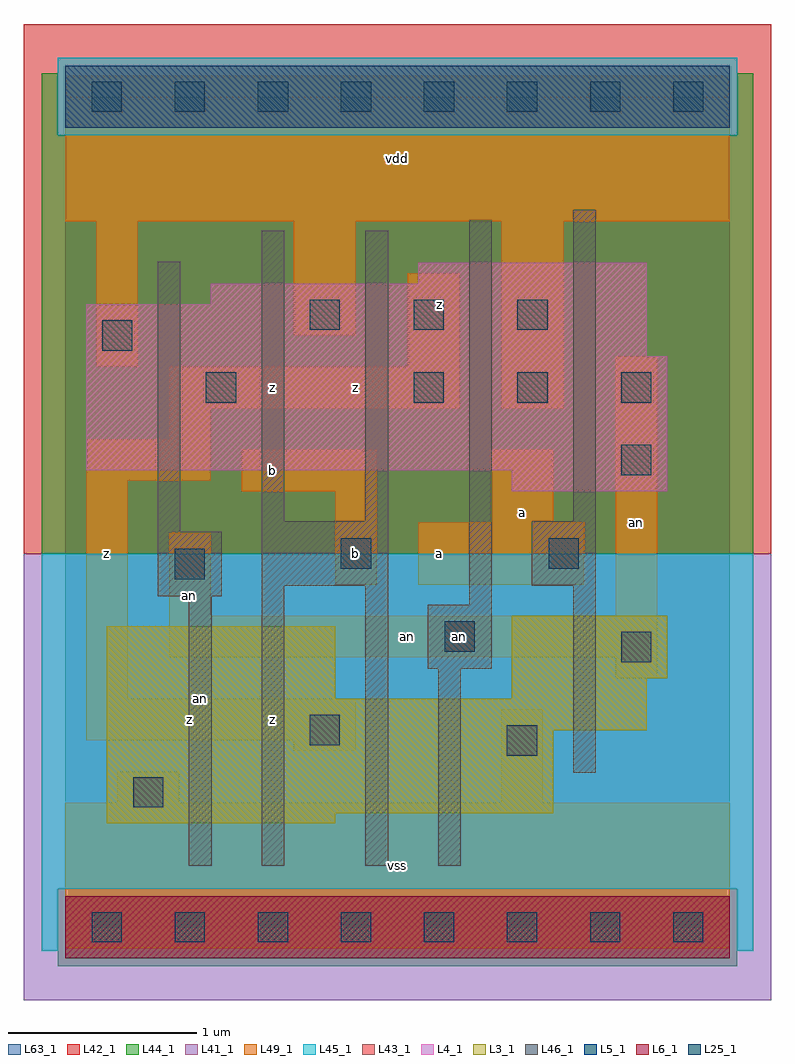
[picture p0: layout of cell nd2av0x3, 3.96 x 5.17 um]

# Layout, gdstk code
import gdstk
lib = gdstk.Library(unit=1e-6, precision=1e-09)
def R(c, l, rs):  # rectangles x0, y0, x1, y1
    for r in rs: c.add(gdstk.rectangle(r[:2], r[2:], *l))
def A(c, l, x, y, w, h, nx, ny, dx, dy):  # array of equal rectangles
    R(c, l, [(x+i*dx, y+j*dy, x+i*dx+w, y+j*dy+h) for i in range(nx) for j in range(ny)])
L3_1 = (3, 1)
L4_1 = (4, 1)
L5_1 = (5, 1)
L6_1 = (6, 1)
L25_1 = (25, 1)
L41_1 = (41, 1)
L42_1 = (42, 1)
L43_1 = (43, 1)
L44_1 = (44, 1)
L45_1 = (45, 1)
L46_1 = (46, 1)
L49_1 = (49, 1)
L63_1 = (63, 1)

nd2av0x3 = lib.new_cell('nd2av0x3')
R(nd2av0x3, L3_1, [(0.22,0.55,1.43,0.605), (0.22,0.605,2.585,1.045), (0.22,1.045,3.08,1.21), (0.22,1.21,1.43,1.595), (2.365,1.21,3.08,1.32), (2.365,1.32,3.19,1.65)])
R(nd2av0x3, L4_1, [(2.365,2.31,3.19,2.42), (0.11,2.42,3.19,3.025), (0.11,3.025,3.08,3.3), (0.77,3.3,3.08,3.41), (1.87,3.41,3.08,3.52)])
R(nd2av0x3, L5_1, [(0,4.235,3.52,4.565)])
R(nd2av0x3, L6_1, [(0,-0.165,3.52,0.165)])
A(nd2av0x3, L25_1, 0.14, -0.08, 0.16, 0.16, 8, 2, 0.44, 4.4)
A(nd2av0x3, L25_1, 1.845, 2.78, 0.16, 0.16, 3, 1, 0.55, 0)
A(nd2av0x3, L25_1, 1.295, 3.165, 0.16, 0.16, 3, 1, 0.55, 0)
R(nd2av0x3, L25_1, [(0.36,0.635,0.52,0.795), (2.34,0.91,2.5,1.07), (1.295,0.965,1.455,1.125), (2.945,1.405,3.105,1.565), (2.01,1.46,2.17,1.62), (0.58,1.845,0.74,2.005), (1.46,1.9,1.62,2.06), (2.56,1.9,2.72,2.06), (2.945,2.395,3.105,2.555), (0.745,2.78,0.905,2.94), (0.195,3.055,0.355,3.215)])
R(nd2av0x3, L41_1, [(-0.22,-0.385,3.74,1.98)])
R(nd2av0x3, L42_1, [(-0.22,1.98,3.74,4.785)])
R(nd2av0x3, L43_1, [(0,-0.165,3.52,0.165), (0.22,0.55,1.43,0.605), (0.22,0.605,2.585,1.045), (0.22,1.045,3.08,1.21), (0.22,1.21,1.43,1.595), (2.365,1.21,3.08,1.32), (2.365,1.32,3.19,1.65), (2.365,2.31,3.19,2.42), (0.11,2.42,3.19,3.025), (0.11,3.025,3.08,3.3), (0.77,3.3,3.08,3.41), (1.87,3.41,3.08,3.52), (0,4.235,3.52,4.565)])
R(nd2av0x3, L44_1, [(-0.04,-0.205,3.56,0.205), (-0.125,1.98,3.645,4.195), (-0.125,4.195,-0.04,4.525), (3.56,4.195,3.645,4.525)])
R(nd2av0x3, L45_1, [(-0.125,-0.125,-0.04,0.205), (3.56,-0.125,3.645,0.205), (-0.125,0.205,3.645,1.98), (-0.04,4.195,3.56,4.605)])
R(nd2av0x3, L46_1, [(0.655,0.325,0.775,1.755), (1.04,0.325,1.16,1.81), (1.59,0.325,1.71,1.81), (1.975,0.325,2.095,1.37), (2.69,0.82,2.81,1.81), (1.92,1.37,2.26,1.71), (2.14,1.71,2.26,3.745), (0.49,1.755,0.83,2.095), (1.04,1.81,1.71,2.15), (2.47,1.81,2.81,2.15), (0.49,2.095,0.61,3.525), (1.04,2.15,1.16,3.69), (1.59,2.15,1.71,3.69), (2.69,2.15,2.81,3.8)])
R(nd2av0x3, L49_1, [(0,-0.11,3.52,0.66), (0.275,0.66,0.605,0.825), (2.31,0.66,2.53,1.155), (1.21,0.935,1.54,0.99), (0.11,0.99,1.54,1.21), (0.11,1.21,0.33,2.365), (2.915,1.32,3.135,1.43), (0.55,1.43,3.135,1.65), (0.55,1.65,0.77,2.09), (2.915,1.65,3.135,3.025), (1.43,1.815,1.65,2.31), (1.87,1.815,2.75,2.145), (2.255,2.145,2.585,2.53), (0.935,2.31,1.65,2.53), (0.11,2.365,0.77,2.585), (0.55,2.585,0.77,2.75), (0.55,2.75,2.09,2.97), (2.31,2.75,2.64,3.74), (0.165,2.97,0.385,3.74), (1.815,2.97,2.09,3.465), (1.21,3.135,1.54,3.74), (0,3.74,3.52,4.51)])
R(nd2av0x3, L63_1, [(0,0,3.52,4.4)])
nd2av0x3.add(gdstk.Label('an', (0.715,1.21), layer=46, texttype=1))
nd2av0x3.add(gdstk.Label('an', (2.09,1.54), layer=49, texttype=1))
nd2av0x3.add(gdstk.Label('z', (0.22,1.98), layer=49, texttype=1))
nd2av0x3.add(gdstk.Label('z', (0.66,1.1), layer=49, texttype=1))
nd2av0x3.add(gdstk.Label('z', (1.1,1.1), layer=49, texttype=1))
nd2av0x3.add(gdstk.Label('an', (0.66,1.76), layer=49, texttype=1))
nd2av0x3.add(gdstk.Label('b', (1.1,2.42), layer=49, texttype=1))
nd2av0x3.add(gdstk.Label('z', (1.1,2.86), layer=49, texttype=1))
nd2av0x3.add(gdstk.Label('vss', (1.76,0.33), layer=49, texttype=1))
nd2av0x3.add(gdstk.Label('b', (1.54,1.98), layer=49, texttype=1))
nd2av0x3.add(gdstk.Label('a', (1.98,1.98), layer=49, texttype=1))
nd2av0x3.add(gdstk.Label('z', (1.54,2.86), layer=49, texttype=1))
nd2av0x3.add(gdstk.Label('z', (1.98,3.3), layer=49, texttype=1))
nd2av0x3.add(gdstk.Label('vdd', (1.76,4.07), layer=49, texttype=1))
nd2av0x3.add(gdstk.Label('a', (2.42,2.2), layer=49, texttype=1))
nd2av0x3.add(gdstk.Label('an', (1.815,1.54), layer=49, texttype=1))
nd2av0x3.add(gdstk.Label('an', (3.025,2.145), layer=49, texttype=1))

lib.write_gds('nd2av0x3.gds')
